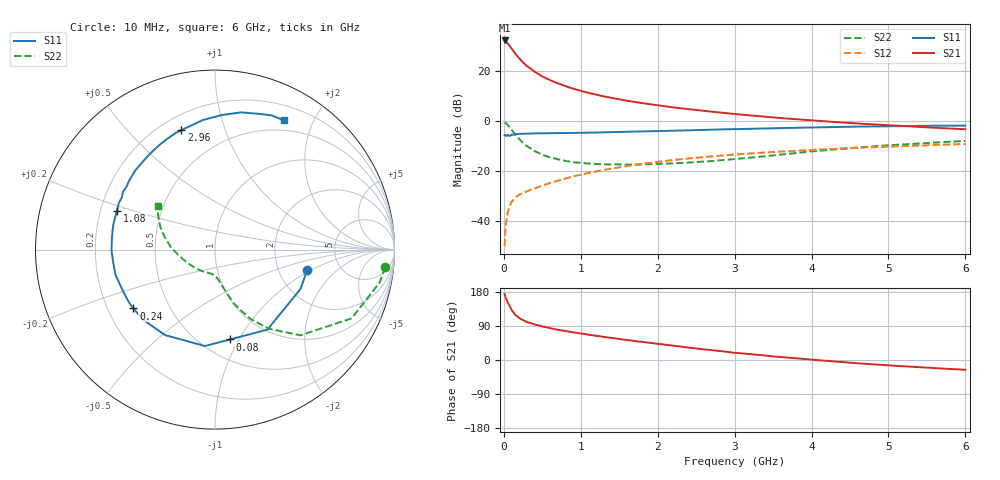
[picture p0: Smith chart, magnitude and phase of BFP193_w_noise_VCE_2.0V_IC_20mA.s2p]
! Infineon Technologies  Discrete & RF Semiconductors
! BFP193
! VCE = 2.0 V,  IC =  20 mA
! Common Emitter S-Parameters:  Jan 2016
# GHz  S  MA  R  50
!  f  S11  S21  S12  S22
! GHz  MAG  ANG  MAG  ANG  MAG  ANG  MAG  ANG
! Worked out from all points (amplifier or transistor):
!   210 points, 10 MHz to 6 GHz, reference 50 ohm
!   highest |S21| = 32.4 dB at 10 MHz (marker M1)
!   |S21| within 3 dB of that: start of sweep to 94.2 MHz
!   unconditionally stable (mu >= 1): 731.5 MHz to 3.809 GHz
!   at 185 MHz: K = 0.49, MSG = 27.8 dB, |S12| = -29.8 dB
!   at 1.52 GHz: K = 1.08, MAG = 11.8 dB, |S12| = -18.4 dB
!   at 6 GHz: K = 0.94, MSG = 3.0 dB, |S12| = -9.1 dB
!   lowest NFmin = 1.40 dB at 450 MHz
!   S11 on the Smith chart (normalised r, x): 10 MHz: 2.89, -0.92; 80 MHz: 0.68, -0.92; 240 MHz: 0.31, -0.29; 1.08 GHz: 0.27, +0.18; 2.96 GHz: 0.28, +0.72; 6 GHz: 0.37, +1.60
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0.01  0.5256 -12.7  41.84 174.3  0.0031 86.8  0.9534 -5.9
0.02  0.5247 -24.7  40.66 167.0  0.0064 79.4  0.9351 -11.4
0.05  0.533 -56.8  36.77 151.2  0.0146 68.6  0.8522 -26.7
0.08  0.5075 -80.6  31.6 140.7  0.0201 60.0  0.7359 -36.7
0.1  0.5401 -96.0  28.92 131.8  0.0239 56.5  0.6743 -45.1
0.15  0.5518 -120.4  22.55 118.8  0.0293 51.1  0.5313 -55.9
0.2  0.559 -135.5  18.25 110.6  0.0336 49.0  0.4351 -62.8
0.24  0.5608 -144.2  15.68 105.9  0.0358 48.8  0.3778 -66.3
0.3  0.562 -153.9  12.83 100.1  0.0391 49.6  0.3174 -70.7
0.4  0.5717 -165.4  9.885 93.7  0.0449 51.2  0.2511 -75.0
0.5  0.5718 -172.8  7.948 88.5  0.0508 53.0  0.2128 -78.0
0.6  0.5763 -179.4  6.682 83.9  0.0575 54.5  0.1883 -80.6
0.7  0.5775 174.9  5.769 79.8  0.0638 55.8  0.1717 -83.0
1.02  0.5858 160.8  3.997 69.3  0.0861 56.7  0.1448 -90.5
1.08  0.5878 158.5  3.785 67.5  0.0901 56.7  0.1423 -92.1
1.4  0.605 147.9  2.93 58.4  0.1118 55.2  0.1359 -100.7
2.02  0.6344 129.2  2.059 42.1  0.1546 49.7  0.1388 -121.1
2.96  0.6913 105.8  1.416 20.1  0.2119 39.2  0.1714 -154.9
3.1  0.698 103.0  1.352 17.4  0.2194 37.6  0.1789 -159.6
4.1  0.7554 85.4  1.015 -0.7  0.2705 26.3  0.2557 174.0
5.1  0.7953 71.9  0.814 -15.5  0.3132 15.3  0.336 155.9
6  0.8157 62.0  0.691 -25.9  0.349 5.7  0.4029 142.5
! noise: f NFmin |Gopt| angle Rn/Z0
0.45  1.4  0.3  160  0.1
0.9  1.45  0.34  172  0.11
1.8  2.2  0.56  -148  0.2
